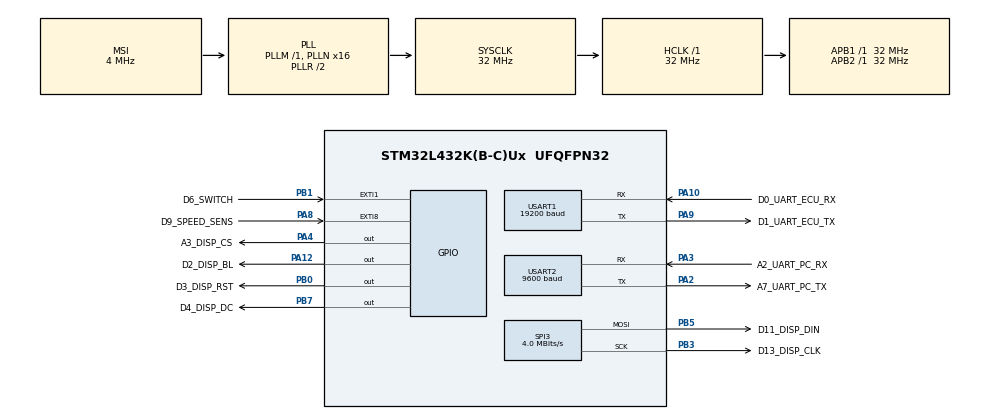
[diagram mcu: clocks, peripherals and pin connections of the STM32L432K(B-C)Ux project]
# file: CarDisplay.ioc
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Mcu.Family=STM32L4
Mcu.Name=STM32L432K(B-C)Ux
Mcu.Package=UFQFPN32
NVIC.EXTI1_IRQn=true\:2\:0\:true\:false\:true\:true\:true
NVIC.EXTI9_5_IRQn=true\:1\:0\:true\:false\:true\:true\:true
NVIC.PriorityGroup=NVIC_PRIORITYGROUP_4
NVIC.TIM2_IRQn=true\:1\:0\:true\:false\:true\:true\:true
PA0.GPIO_Label=MCO [High speed clock in]
PA0.Mode=HSE-External-Clock-Source-for-LittleOrca
PA0.Signal=RCC_CK_IN
PA10.GPIO_Label=D0_UART_ECU_RX
PA10.Mode=Asynchronous
PA10.Signal=USART1_RX
PA12.GPIO_Label=D2_DISP_BL
PA12.Signal=GPIO_Output
PA13\ (JTMS-SWDIO).GPIO_Label=SWDIO
PA13\ (JTMS-SWDIO).Mode=Serial_Wire
PA13\ (JTMS-SWDIO).Signal=SYS_JTMS-SWDIO
PA14\ (JTCK-SWCLK).GPIO_Label=SWCLK
PA14\ (JTCK-SWCLK).Mode=Serial_Wire
PA14\ (JTCK-SWCLK).Signal=SYS_JTCK-SWCLK
PA2.GPIO_Label=A7_UART_PC_TX
PA2.Mode=Asynchronous
PA2.Signal=USART2_TX
PA3.GPIO_Label=A2_UART_PC_RX
PA3.Mode=Asynchronous
PA3.Signal=USART2_RX
PA4.GPIO_Label=A3_DISP_CS
PA4.Signal=GPIO_Output
PA8.GPIO_Label=D9_SPEED_SENS
PA8.Signal=GPXTI8
PA9.GPIO_Label=D1_UART_ECU_TX
PA9.Mode=Asynchronous
PA9.Signal=USART1_TX
PB0.GPIO_Label=D3_DISP_RST
PB0.Signal=GPIO_Output
PB1.GPIO_Label=D6_SWITCH
PB1.GPIO_ModeDefaultEXTI=GPIO_MODE_IT_FALLING
PB1.Signal=GPXTI1
PB3\ (JTDO-TRACESWO).GPIO_Label=D13_DISP_CLK
PB3\ (JTDO-TRACESWO).Mode=TX_Only_Simplex_Unidirect_Master
PB3\ (JTDO-TRACESWO).Signal=SPI3_SCK
PB5.GPIO_Label=D11_DISP_DIN
PB5.Mode=TX_Only_Simplex_Unidirect_Master
PB5.Signal=SPI3_MOSI
PB7.GPIO_Label=D4_DISP_DC
PB7.Signal=GPIO_Output
PC14-OSC32_IN\ (PC14).Mode=LSE-External-Oscillator
PC14-OSC32_IN\ (PC14).Signal=RCC_OSC32_IN
PC15-OSC32_OUT\ (PC15).Mode=LSE-External-Oscillator
PC15-OSC32_OUT\ (PC15).Signal=RCC_OSC32_OUT
ProjectManager.HeapSize=0x200
ProjectManager.StackSize=0x400
ProjectManager.TargetToolchain=STM32CubeIDE
RCC.AHBFreq_Value=32000000
RCC.APB1Freq_Value=32000000
RCC.APB1TimFreq_Value=32000000
RCC.APB2Freq_Value=32000000
RCC.APB2TimFreq_Value=32000000
RCC.CortexFreq_Value=32000000
RCC.HCLKFreq_Value=32000000
RCC.HSE_VALUE=8000000
RCC.HSI16_VALUE=16000000
RCC.HSI48_VALUE=48000000
RCC.HSI_VALUE=16000000
RCC.MSI_VALUE=4000000
RCC.PLLMUL=RCC_PLLMUL_4
RCC.PLLN=16
RCC.SYSCLKFreq_VALUE=32000000
RCC.SYSCLKSource=RCC_SYSCLKSOURCE_PLLCLK
RCC.VCOOutputFreq_Value=64000000
SPI3.BaudRatePrescaler=SPI_BAUDRATEPRESCALER_8
SPI3.CLKPhase=SPI_PHASE_1EDGE
SPI3.CLKPolarity=SPI_POLARITY_LOW
SPI3.CalculateBaudRate=4.0 MBits/s
SPI3.DataSize=SPI_DATASIZE_8BIT
SPI3.Direction=SPI_DIRECTION_2LINES
SPI3.Mode=SPI_MODE_MASTER
SPI3.VirtualType=VM_MASTER
TIM2.ClockDivision=TIM_CLOCKDIVISION_DIV1
TIM2.Period=999
TIM2.Prescaler=31999
USART1.BaudRate=19200
USART1.VirtualMode-Asynchronous=VM_ASYNC
USART2.BaudRate=9600
USART2.VirtualMode-Asynchronous=VM_ASYNC
VP_TIM2_VS_ClockSourceINT.Mode=Internal
board=NUCLEO-L432KC

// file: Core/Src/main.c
/* USER CODE BEGIN Header */
/**
  ******************************************************************************
  * @file           : main.c
  * @brief          : Main program body
  ******************************************************************************
  * @attention
  *
  * <h2><center>&copy; Copyright (c) 2024 STMicroelectronics.
  * All rights reserved.</center></h2>
  *
  * This software component is licensed by ST under BSD 3-Clause license,
  * the "License"; You may not use this file except in compliance with the
  * License. You may obtain a copy of the License at:
  *                        opensource.org/licenses/BSD-3-Clause
  *
  ******************************************************************************
  */
/* USER CODE END Header */

#include "main.h"

/* USER CODE BEGIN Includes */
#include "disp_conf.h"
#include "disp_gui.h"
#include "image.h"
/* USER CODE END Includes */

SPI_HandleTypeDef hspi3;

TIM_HandleTypeDef htim2;

UART_HandleTypeDef huart1;
UART_HandleTypeDef huart2;

void SystemClock_Config(void);
static void MX_GPIO_Init(void);
static void MX_USART2_UART_Init(void);
static void MX_USART1_UART_Init(void);
static void MX_SPI3_Init(void);
static void MX_TIM2_Init(void);

/* USER CODE BEGIN 0 */

#define DISP_ACTIVE

ecu ecuVal;
dev_state devState;
vehicle vehicleVal;

void HAL_GPIO_EXTI_Callback(uint16_t GPIO_Pin);
void HAL_TIM_PeriodElapsedCallback(TIM_HandleTypeDef *htim);
void logoScreenDisplay();
void paramScreenDisplay();
void gearboxScreenDisplay();
void fuelConsScreenDisplay();
/* USER CODE END 0 */

int main(void)
{

  /* MCU Configuration--------------------------------------------------------*/

  /* Reset of all peripherals, Initializes the Flash interface and the Systick. */
  HAL_Init();

  /* Configure the system clock */
  SystemClock_Config();

  /* Initialize all configured peripherals */
  MX_GPIO_Init();
  MX_USART2_UART_Init();
  MX_USART1_UART_Init();
  MX_SPI3_Init();
  MX_TIM2_Init();
  /* USER CODE BEGIN 2 */
  	devState.switchActv = 0;

#ifdef DISP_ACTIVE
	DISP_Init(VERTICAL);
	DISP_NewImage(DISP_WIDTH, DISP_HEIGHT, 0, BLACK);
//	logoScreenDisplay();
//
//	// Waiting for pressing the switch
//	while(HAL_GPIO_ReadPin(D6_SWITCH_PIN));
//	HAL_Delay(100);

	paramScreenDisplay();
	//gearboxScreenDisplay();

	ecuVal.IAT = 40;
	ecuVal.batt_v = 12.6;
	ecuVal.oil_bar = 3.5;
	ecuVal.oil_temp = 90;
	ecuVal.CLT = 90;
	ecuVal.lambda = 12.6;

	vehicleVal.actGear = 3;

	vehicleVal.gearRatio[0] = 1;
	vehicleVal.gearRatio[1] = 442;
	vehicleVal.gearRatio[2] = 230;
	vehicleVal.gearRatio[3] = 167;
	vehicleVal.gearRatio[4] = 119;
	vehicleVal.gearRatio[5] = 100;

	vehicleVal.revGear[1] = 5000;
	for(int i = 2; i <= 5 ; i++) {
		vehicleVal.revGear[i] = vehicleVal.revGear[i-1] * vehicleVal.gearRatio[i] / vehicleVal.gearRatio[i-1];
	}
#endif

	__HAL_RCC_TIM2_CLK_ENABLE();
	HAL_NVIC_EnableIRQ(TIM2_IRQn);
	HAL_TIM_Base_Start_IT(&htim2);
	vehicleVal.speedSensCnt = 0;
  /* USER CODE END 2 */

  /* Infinite loop */
  while (1)
  {

    /* USER CODE BEGIN 3 */

#ifdef DISP_ACTIVE
	if(devState.switchActv) {
		if(devState.screenNo == PARAM) {
			DISP_DrawNum(105, 15, (int32_t)ecuVal.CLT, &Font24, BRRED, BLACK);
			DISP_DrawNum(40, 70, (int32_t)ecuVal.oil_temp, &Font24, BRRED, BLACK);
			DISP_DrawNum(160, 70, (int32_t)ecuVal.oil_bar, &Font24, BRRED, BLACK);
			DISP_DrawNum(40, 130, (int32_t)ecuVal.batt_v, &Font24, BRRED, BLACK);
			DISP_DrawNum(160, 130, (int32_t)ecuVal.lambda, &Font24, BRRED, BLACK);
			DISP_DrawNum(105, 207, (int32_t)ecuVal.IAT, &Font24, BRRED, BLACK);
			ecuVal.oil_bar++;
			ecuVal.oil_temp++;
			ecuVal.batt_v++;
			ecuVal.lambda++;
			ecuVal.CLT++;
			ecuVal.IAT++;
		} else if(devState.screenNo == GEARBOX) {
			DISP_DrawNum(60, 18, (int32_t)vehicleVal.actSpeed, &Font24, BLACK, BRRED);
			DISP_DrawNum(60, 43, (int32_t)vehicleVal.fuelCons, &Font24, BLACK, BRRED);
			DISP_DrawNum(130, 90,  vehicleVal.revGear[1], &Font24, ((vehicleVal.actGear == 1) ? BRRED : BLACK), ((vehicleVal.actGear == 1) ? BLACK : BRRED));
			DISP_DrawNum(130, 115, vehicleVal.revGear[2], &Font24, ((vehicleVal.actGear == 2) ? BRRED : BLACK), ((vehicleVal.actGear == 2) ? BLACK : BRRED));
			DISP_DrawNum(130, 140, vehicleVal.revGear[3], &Font24, ((vehicleVal.actGear == 3) ? BRRED : BLACK), ((vehicleVal.actGear == 3) ? BLACK : BRRED));
			DISP_DrawNum(130, 165, vehicleVal.revGear[4], &Font24, ((vehicleVal.actGear == 4) ? BRRED : BLACK), ((vehicleVal.actGear == 4) ? BLACK : BRRED));
			DISP_DrawNum(130, 190, vehicleVal.revGear[5], &Font24, ((vehicleVal.actGear == 5) ? BRRED : BLACK), ((vehicleVal.actGear == 5) ? BLACK : BRRED));
		}

		HAL_UART_Transmit(&huart2, "\nCnt ", 5, 100);
		char b[4];
		itoa(vehicleVal.actSpeed, b, 10);

		HAL_UART_Transmit(&huart2, b, 4, 100);

	} else {
		if(devState.screenNo == CHANGE_TO_PARAM) {
			paramScreenDisplay();
		} else if(devState.screenNo == CHANGE_TO_GEARBOX) {
			gearboxScreenDisplay();
		}
	}

#endif

//	HAL_UART_Transmit(&huart2, "dupa\n", 5, 100);
//	uint32_t timerValue = __HAL_TIM_GET_COUNTER(&htim2);
//	HAL_UART_Transmit(&huart2, "\ntim2: ", 7, 100);
//	uint8_t b[4];
//	itoa(timerValue, b, 10);
//	HAL_UART_Transmit(&huart2, b, 4, 100);
	HAL_UART_Transmit(&huart1, "123aaa", 5, 100);
	HAL_Delay(800);
  }
  /* USER CODE END 3 */
}

void SystemClock_Config(void)
{
  RCC_OscInitTypeDef RCC_OscInitStruct = {0};
  RCC_ClkInitTypeDef RCC_ClkInitStruct = {0};
  RCC_PeriphCLKInitTypeDef PeriphClkInit = {0};

  /** Configure LSE Drive Capability
  */
  HAL_PWR_EnableBkUpAccess();
  __HAL_RCC_LSEDRIVE_CONFIG(RCC_LSEDRIVE_LOW);
  /** Initializes the CPU, AHB and APB busses clocks
  */
  RCC_OscInitStruct.OscillatorType = RCC_OSCILLATORTYPE_LSE|RCC_OSCILLATORTYPE_MSI;
  RCC_OscInitStruct.LSEState = RCC_LSE_ON;
  RCC_OscInitStruct.MSIState = RCC_MSI_ON;
  RCC_OscInitStruct.MSICalibrationValue = 0;
  RCC_OscInitStruct.MSIClockRange = RCC_MSIRANGE_6;
  RCC_OscInitStruct.PLL.PLLState = RCC_PLL_ON;
  RCC_OscInitStruct.PLL.PLLSource = RCC_PLLSOURCE_MSI;
  RCC_OscInitStruct.PLL.PLLM = 1;
  RCC_OscInitStruct.PLL.PLLN = 16;
  RCC_OscInitStruct.PLL.PLLP = RCC_PLLP_DIV7;
  RCC_OscInitStruct.PLL.PLLQ = RCC_PLLQ_DIV2;
  RCC_OscInitStruct.PLL.PLLR = RCC_PLLR_DIV2;
  if (HAL_RCC_OscConfig(&RCC_OscInitStruct) != HAL_OK)
  {
    Error_Handler();
  }
  /** Initializes the CPU, AHB and APB busses clocks
  */
  RCC_ClkInitStruct.ClockType = RCC_CLOCKTYPE_HCLK|RCC_CLOCKTYPE_SYSCLK
                              |RCC_CLOCKTYPE_PCLK1|RCC_CLOCKTYPE_PCLK2;
  RCC_ClkInitStruct.SYSCLKSource = RCC_SYSCLKSOURCE_PLLCLK;
  RCC_ClkInitStruct.AHBCLKDivider = RCC_SYSCLK_DIV1;
  RCC_ClkInitStruct.APB1CLKDivider = RCC_HCLK_DIV1;
  RCC_ClkInitStruct.APB2CLKDivider = RCC_HCLK_DIV1;

  if (HAL_RCC_ClockConfig(&RCC_ClkInitStruct, FLASH_LATENCY_1) != HAL_OK)
  {
    Error_Handler();
  }
  PeriphClkInit.PeriphClockSelection = RCC_PERIPHCLK_USART1|RCC_PERIPHCLK_USART2;
  PeriphClkInit.Usart1ClockSelection = RCC_USART1CLKSOURCE_PCLK2;
  PeriphClkInit.Usart2ClockSelection = RCC_USART2CLKSOURCE_PCLK1;
  if (HAL_RCCEx_PeriphCLKConfig(&PeriphClkInit) != HAL_OK)
  {
    Error_Handler();
  }
  /** Configure the main internal regulator output voltage
  */
  if (HAL_PWREx_ControlVoltageScaling(PWR_REGULATOR_VOLTAGE_SCALE1) != HAL_OK)
  {
    Error_Handler();
  }
  /** Enable MSI Auto calibration
  */
  HAL_RCCEx_EnableMSIPLLMode();
}

static void MX_SPI3_Init(void)
{

  /* SPI3 parameter configuration*/
  hspi3.Instance = SPI3;
  hspi3.Init.Mode = SPI_MODE_MASTER;
  hspi3.Init.Direction = SPI_DIRECTION_2LINES;
  hspi3.Init.DataSize = SPI_DATASIZE_8BIT;
  hspi3.Init.CLKPolarity = SPI_POLARITY_LOW;
  hspi3.Init.CLKPhase = SPI_PHASE_1EDGE;
  hspi3.Init.NSS = SPI_NSS_SOFT;
  hspi3.Init.BaudRatePrescaler = SPI_BAUDRATEPRESCALER_8;
  hspi3.Init.FirstBit = SPI_FIRSTBIT_MSB;
  hspi3.Init.TIMode = SPI_TIMODE_DISABLE;
  hspi3.Init.CRCCalculation = SPI_CRCCALCULATION_DISABLE;
  hspi3.Init.CRCPolynomial = 7;
  hspi3.Init.CRCLength = SPI_CRC_LENGTH_DATASIZE;
  hspi3.Init.NSSPMode = SPI_NSS_PULSE_ENABLE;
  if (HAL_SPI_Init(&hspi3) != HAL_OK)
  {
    Error_Handler();
  }

}

static void MX_TIM2_Init(void)
{

  TIM_ClockConfigTypeDef sClockSourceConfig = {0};
  TIM_MasterConfigTypeDef sMasterConfig = {0};

  htim2.Instance = TIM2;
  htim2.Init.Prescaler = 31999;
  htim2.Init.CounterMode = TIM_COUNTERMODE_UP;
  htim2.Init.Period = 999;
  htim2.Init.ClockDivision = TIM_CLOCKDIVISION_DIV1;
  htim2.Init.AutoReloadPreload = TIM_AUTORELOAD_PRELOAD_DISABLE;
  if (HAL_TIM_Base_Init(&htim2) != HAL_OK)
  {
    Error_Handler();
  }
  sClockSourceConfig.ClockSource = TIM_CLOCKSOURCE_INTERNAL;
  if (HAL_TIM_ConfigClockSource(&htim2, &sClockSourceConfig) != HAL_OK)
  {
    Error_Handler();
  }
  sMasterConfig.MasterOutputTrigger = TIM_TRGO_RESET;
  sMasterConfig.MasterSlaveMode = TIM_MASTERSLAVEMODE_DISABLE;
  if (HAL_TIMEx_MasterConfigSynchronization(&htim2, &sMasterConfig) != HAL_OK)
  {
    Error_Handler();
  }

}

static void MX_USART1_UART_Init(void)
{

  huart1.Instance = USART1;
  huart1.Init.BaudRate = 19200;
  huart1.Init.WordLength = UART_WORDLENGTH_8B;
  huart1.Init.StopBits = UART_STOPBITS_1;
  huart1.Init.Parity = UART_PARITY_NONE;
  huart1.Init.Mode = UART_MODE_TX_RX;
  huart1.Init.HwFlowCtl = UART_HWCONTROL_NONE;
  huart1.Init.OverSampling = UART_OVERSAMPLING_16;
  huart1.Init.OneBitSampling = UART_ONE_BIT_SAMPLE_DISABLE;
  huart1.AdvancedInit.AdvFeatureInit = UART_ADVFEATURE_NO_INIT;
  if (HAL_UART_Init(&huart1) != HAL_OK)
  {
    Error_Handler();
  }

}

static void MX_USART2_UART_Init(void)
{

  huart2.Instance = USART2;
  huart2.Init.BaudRate = 9600;
  huart2.Init.WordLength = UART_WORDLENGTH_8B;
  huart2.Init.StopBits = UART_STOPBITS_1;
  huart2.Init.Parity = UART_PARITY_NONE;
  huart2.Init.Mode = UART_MODE_TX_RX;
  huart2.Init.HwFlowCtl = UART_HWCONTROL_NONE;
  huart2.Init.OverSampling = UART_OVERSAMPLING_16;
  huart2.Init.OneBitSampling = UART_ONE_BIT_SAMPLE_DISABLE;
  huart2.AdvancedInit.AdvFeatureInit = UART_ADVFEATURE_NO_INIT;
  if (HAL_UART_Init(&huart2) != HAL_OK)
  {
    Error_Handler();
  }

}

static void MX_GPIO_Init(void)
{
  GPIO_InitTypeDef GPIO_InitStruct = {0};

  /* GPIO Ports Clock Enable */
  __HAL_RCC_GPIOC_CLK_ENABLE();
  __HAL_RCC_GPIOA_CLK_ENABLE();
  __HAL_RCC_GPIOB_CLK_ENABLE();

  /*Configure GPIO pin Output Level */
  HAL_GPIO_WritePin(GPIOA, A3_DISP_CS_Pin|D2_DISP_BL_Pin, GPIO_PIN_RESET);

  /*Configure GPIO pin Output Level */
  HAL_GPIO_WritePin(GPIOB, D3_DISP_RST_Pin|D4_DISP_DC_Pin, GPIO_PIN_RESET);

  /*Configure GPIO pins : A3_DISP_CS_Pin D2_DISP_BL_Pin */
  GPIO_InitStruct.Pin = A3_DISP_CS_Pin|D2_DISP_BL_Pin;
  GPIO_InitStruct.Mode = GPIO_MODE_OUTPUT_PP;
  GPIO_InitStruct.Pull = GPIO_NOPULL;
  GPIO_InitStruct.Speed = GPIO_SPEED_FREQ_LOW;
  HAL_GPIO_Init(GPIOA, &GPIO_InitStruct);

  /*Configure GPIO pins : D3_DISP_RST_Pin D4_DISP_DC_Pin */
  GPIO_InitStruct.Pin = D3_DISP_RST_Pin|D4_DISP_DC_Pin;
  GPIO_InitStruct.Mode = GPIO_MODE_OUTPUT_PP;
  GPIO_InitStruct.Pull = GPIO_NOPULL;
  GPIO_InitStruct.Speed = GPIO_SPEED_FREQ_LOW;
  HAL_GPIO_Init(GPIOB, &GPIO_InitStruct);

  /*Configure GPIO pin : D6_SWITCH_Pin */
  GPIO_InitStruct.Pin = D6_SWITCH_Pin;
  GPIO_InitStruct.Mode = GPIO_MODE_IT_FALLING;
  GPIO_InitStruct.Pull = GPIO_NOPULL;
  HAL_GPIO_Init(D6_SWITCH_GPIO_Port, &GPIO_InitStruct);

  /*Configure GPIO pin : D9_SPEED_SENS_Pin */
  GPIO_InitStruct.Pin = D9_SPEED_SENS_Pin;
  GPIO_InitStruct.Mode = GPIO_MODE_IT_RISING;
  GPIO_InitStruct.Pull = GPIO_NOPULL;
  HAL_GPIO_Init(D9_SPEED_SENS_GPIO_Port, &GPIO_InitStruct);

  /* EXTI interrupt init*/
  HAL_NVIC_SetPriority(EXTI1_IRQn, 2, 0);
  HAL_NVIC_EnableIRQ(EXTI1_IRQn);

  HAL_NVIC_SetPriority(EXTI9_5_IRQn, 1, 0);
  HAL_NVIC_EnableIRQ(EXTI9_5_IRQn);

}

/* USER CODE BEGIN 4 */
void HAL_GPIO_EXTI_Callback(uint16_t GPIO_Pin) {
///////////// SWITCH /////////////
	if(GPIO_Pin == D6_SWITCH_Pin && devState.switchActv) {

		devState.switchActv = 0;

		if(devState.screenNo == PARAM) {
			devState.screenNo = CHANGE_TO_GEARBOX;

		} else if(devState.screenNo == GEARBOX) {
			devState.screenNo = CHANGE_TO_PARAM;
		}
///////////// SPEED SENSOR /////////////
	} else if(GPIO_Pin == D9_SPEED_SENS_Pin) {

		if(devState.switchActv) {
			vehicleVal.speedSensCnt++;

		} else {
			vehicleVal.speedSensCnt = 0;
		}
	}
}

void HAL_TIM_PeriodElapsedCallback(TIM_HandleTypeDef *htim) {

	vehicleVal.actSpeed = vehicleVal.speedSensCnt * 110 / 78;
	vehicleVal.speedSensCnt = 0;
}

void logoScreenDisplay() {

	DISP_Clear(BLACK);
	DISP_DrawImage(gImage_samurai_logo_q1, 30, 30, 90, 90);
	DISP_DrawImage(gImage_samurai_logo_q3, 30, 120, 90, 90);
	DISP_DrawImage(gImage_samurai_logo_q2, 120, 30, 90, 90);
	DISP_DrawImage(gImage_samurai_logo_q4, 120, 120, 90, 90);

	devState.screenNo = LOGO;
}

void paramScreenDisplay() {

	DISP_Clear(BLACK);
	DISP_DrawString(65, 40, "WATER oC", &Font20, BLACK, BRRED);
	DISP_DrawLine(20, 60, 220, 60, BRRED, DOT_PIXEL_2X2, LINE_STYLE_SOLID);
	DISP_DrawLine(120, 60, 120, 120, BRRED, DOT_PIXEL_2X2, LINE_STYLE_SOLID);
	DISP_DrawString(25, 100, "OIL oC", &Font20, BLACK, BRRED);
	DISP_DrawString(130, 100, "OIL bar", &Font20, BLACK, BRRED);
	DISP_DrawLine(5, 120, 235, 120, BRRED, DOT_PIXEL_2X2, LINE_STYLE_SOLID);
	DISP_DrawLine(120, 120, 120, 180, BRRED, DOT_PIXEL_2X2, LINE_STYLE_SOLID);
	DISP_DrawString(25, 160, "BATT V", &Font20, BLACK, BRRED);
	DISP_DrawString(130, 160, "LAMBDA", &Font20, BLACK, BRRED);
	DISP_DrawLine(20, 180, 220, 180, BRRED, DOT_PIXEL_2X2, LINE_STYLE_SOLID);
	DISP_DrawString(75, 182, "IAT oC", &Font20, BLACK, BRRED);

	devState.screenNo = PARAM;
	devState.switchActv = 1;
}

void gearboxScreenDisplay() {

	DISP_Clear(BLACK);
	DISP_DrawString(120, 18, "km/h", &Font20, BLACK, BRRED);
	DISP_DrawString(120, 43, "l/100km", &Font20, BLACK, BRRED);
	DISP_DrawLine(20, 68, 220, 68, BRRED, DOT_PIXEL_2X2, LINE_STYLE_SOLID);
	DISP_DrawLine(105, 68, 105, 220, BRRED, DOT_PIXEL_2X2, LINE_STYLE_SOLID);
	DISP_DrawString(40, 70, "GEAR", &Font20, BLACK, BRRED);
	DISP_DrawString(130, 70, "RPM", &Font20, BLACK, BRRED);
	DISP_DrawString(60, 90, "1", &Font20, BLACK, BRRED);
	DISP_DrawString(60, 115, "2", &Font20, BLACK, BRRED);
	DISP_DrawString(60, 140, "3", &Font20, BLACK, BRRED);
	DISP_DrawString(60, 165, "4", &Font20, BLACK, BRRED);
	DISP_DrawString(60, 190, "5", &Font20, BLACK, BRRED);

	devState.screenNo = GEARBOX;
	devState.switchActv = 1;
}

/* USER CODE END 4 */

void Error_Handler(void)
{
}

/************************ (C) COPYRIGHT STMicroelectronics *****END OF FILE****/
